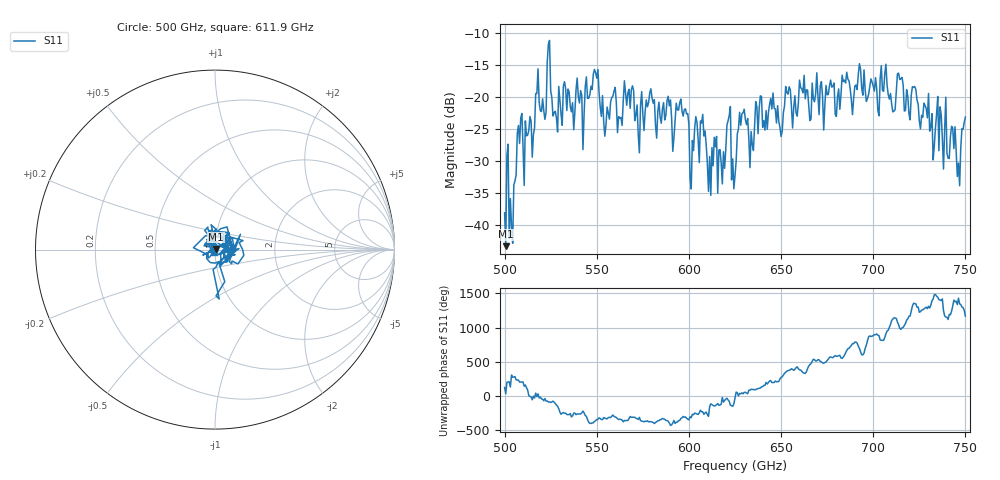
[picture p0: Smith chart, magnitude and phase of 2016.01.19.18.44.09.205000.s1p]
!Created with skrf (http://scikit-rf.org).
# GHz S RI R 50.0
!freq ReS11 ImS11
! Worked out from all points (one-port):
!   401 points, 500 GHz to 750 GHz, reference 50 ohm
!   lowest |S11| = -43.4 dB at 500.6 GHz (marker M1), VSWR 1.01, Z = 50.6 + j0.365 ohm
!   |S11| at or under -10 dB: start of sweep to end of sweep
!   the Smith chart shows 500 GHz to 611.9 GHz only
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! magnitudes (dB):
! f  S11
! 500 GHz  -38.2
! 500.6 GHz  -43.4
! 503.8 GHz  -40.3
! 508.1 GHz  -27.3
! 521.2 GHz  -22.1
! 524.4 GHz  -11.2
! 527.5 GHz  -22.3
! 531.2 GHz  -24.5
! 549.4 GHz  -16.2
! 553.8 GHz  -23.8
! 562.5 GHz  -23.4
! 566.2 GHz  -21.3
! 571.9 GHz  -21.3
! 593.8 GHz  -22.0
! 601.2 GHz  -34.4
! 607.5 GHz  -22.7
! 610.6 GHz  -34.8
! 616.9 GHz  -28.3
! 621.2 GHz  -23.7
! 625 GHz  -32.4
! 628.8 GHz  -22.7
! 633.8 GHz  -25.4
! 637.5 GHz  -25.8
! 656.2 GHz  -24.9
! 687.5 GHz  -18.7
! 718.8 GHz  -19.9
! 746.2 GHz  -30.4
! 750 GHz  -23.2
